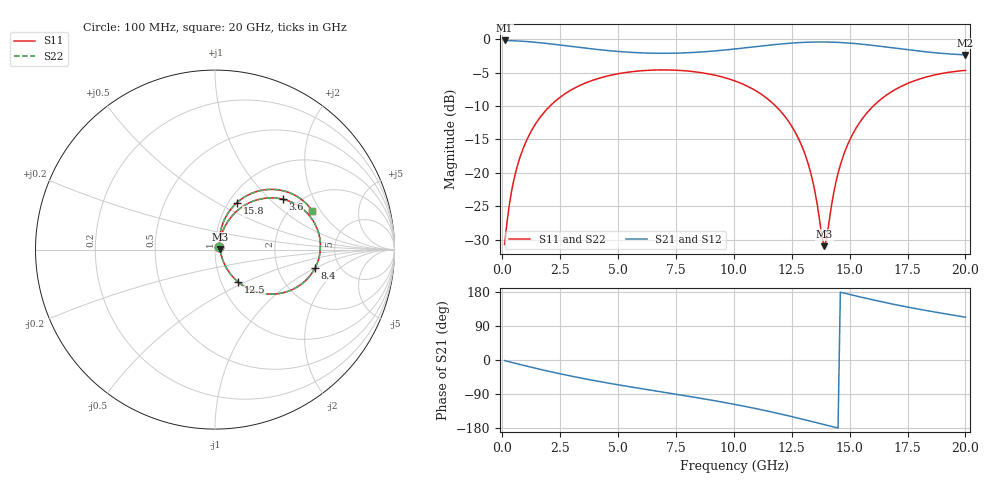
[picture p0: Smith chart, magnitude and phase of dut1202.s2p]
! Touchstone file exported from HFSS 2026.1.0
!  File:  C:/ffzhzh/LocalFiles/Ansys_Project_Files/temp_train_TSV_RDL_1202_1783318608_38820.aedt
!  Generated:  02:26:55 PM Jul  6, 2026
!  Design:  TSV_RDL
!  Project:  temp_train_TSV_RDL_1202_1783318608_38820
! Variables:
!  h_bsmrdl = 5.64um
!  h_ox = 20um
!  h_rdl = 5um
!  h_sub = 54.38um
!  h_tmrdl = 3.71um
!  h_tsv = 54.38um
!  h_via = 3um
!  l_bsmrdl = 546.15um
!  l_sub = 4197.71um
!  l_tmrdl = 513.46um
!  m_sub = 200um
!  pitch = 52.25um
!  r_tsv = 13.33um
!  s_tmrdl = 10um
!  w_bsmrdl = 24.48um
!  w_sub = 500um
!  w_tmrdl = 10.66um
!  x_tsv_center1 = 518.79um
!  x_tsv_center2 = 1089.42um
!  x_tsv_center3 = 1613.54um
!  x_tsv_center4 = 2184.17um
!  x_tsv_center5 = 2708.29um
!  x_tsv_center6 = 3278.92um
# GHz S MA R 50.000000
! Terminal data exported
! Port[1] = TM_RDL1_1_T1
! Port[2] = TM_RDL5_1_T1
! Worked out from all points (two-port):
!   200 points, 100 MHz to 20 GHz, reference 50 ohm
!   highest |S21| = -0.20 dB at 100 MHz (marker M1); lowest = -2.4 dB at 20 GHz (marker M2)
!   |S21| within 3 dB of the highest: start of sweep to end of sweep
!   lowest |S11| = -31.0 dB at 13.9 GHz (marker M3), VSWR 1.06, Z = 52.9 + j0.197 ohm
!   |S11| at or under -10 dB: start of sweep to 2.065 GHz; 11.8 GHz to 16.03 GHz (4.227 GHz wide, 30.4 % of centre)
!   |S22| runs from -31.1 to -4.6 dB; largest |S21 - S12| = 2.2e-14
!   S11 on the Smith chart (normalised r, x): 100 MHz: 1.05, +0.04; 3.6 GHz: 1.67, +1.20; 8.4 GHz: 3.30, -0.99; 12.5 GHz: 1.20, -0.46; 15.8 GHz: 1.09, +0.62; 20 GHz: 2.59, +1.68
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0.1  0.02909 35.8  0.9767 -1.6  0.9767 -1.6  0.02909 35.8
! Gamma 0 0 0 0
! Port Impedance 50 0 50 0
0.3  0.05712 60.3  0.9746 -4.7  0.9746 -4.7  0.05712 60.3
0.5  0.0886 65.9  0.9716 -7.8  0.9716 -7.8  0.0886 65.9
1.1  0.1824 64.9  0.9573 -16.9  0.9573 -16.9  0.1824 64.9
2.1  0.3207 54.0  0.92 -31.1  0.92 -31.1  0.3207 54.0
3.5  0.4623 37.8  0.8593 -48.9  0.8593 -48.9  0.4623 37.8
3.6  0.4701 36.7  0.8552 -50.1  0.8552 -50.1  0.4701 36.7
6.8  0.5879 4.8  0.7831 -83.4  0.7831 -83.4  0.5879 4.8
8.4  0.567 -10.3  0.797 -99.4  0.797 -99.4  0.567 -10.3
10.1  0.4824 -27.7  0.8454 -117.8  0.8454 -117.8  0.4824 -27.7
11.5  0.3522 -43.5  0.8997 -135.4  0.8997 -135.4  0.3522 -43.5
12.5  0.2228 -54.4  0.9336 -149.4  0.9336 -149.4  0.2228 -54.4
13  0.1489 -57.9  0.9451 -156.7  0.9451 -156.7  0.1488 -58.0
13.4  0.08772 -56.0  0.9504 -162.8  0.9504 -162.8  0.08766 -56.1
13.9  0.02824 3.8  0.9517 -170.4  0.9517 -170.4  0.02797 3.7
14  0.03157 33.3  0.9512 -171.9  0.9512 -171.9  0.03131 33.5
14.4  0.08389 70.9  0.9467 -178.0  0.9467 -178.0  0.08377 71.1
14.7  0.1297 73.6  0.9409 177.5  0.9409 177.5  0.1296 73.7
15.8  0.2873 65.1  0.9052 161.6  0.9052 161.6  0.2873 65.1
16.7  0.3925 55.0  0.8669 149.6  0.8669 149.6  0.3924 55.0
18.2  0.5139 38.8  0.8062 131.8  0.8062 131.8  0.5139 38.8
20  0.5834 21.4  0.7623 113.1  0.7623 113.1  0.5833 21.5
